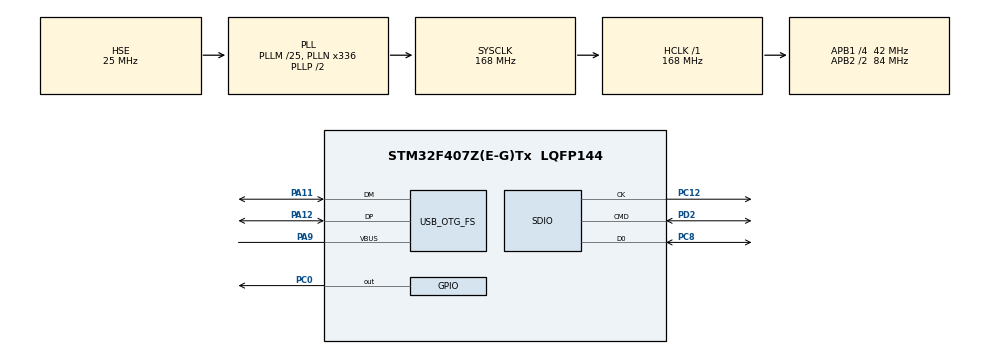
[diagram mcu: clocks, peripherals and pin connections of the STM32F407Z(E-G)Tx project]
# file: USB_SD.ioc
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FATFS._FS_EXFAT=0
FATFS._FS_TINY=0
FATFS._MAX_SS=4096
FATFS._USE_LFN=0
Mcu.Family=STM32F4
Mcu.Name=STM32F407Z(E-G)Tx
Mcu.Package=LQFP144
NVIC.OTG_FS_IRQn=true\:0\:0\:false\:false\:true\:false\:true\:true
NVIC.PriorityGroup=NVIC_PRIORITYGROUP_4
PA11.Mode=Host_Only
PA11.Signal=USB_OTG_FS_DM
PA12.Mode=Host_Only
PA12.Signal=USB_OTG_FS_DP
PA13.Mode=Serial_Wire
PA13.Signal=SYS_JTMS-SWDIO
PA14.Mode=Serial_Wire
PA14.Signal=SYS_JTCK-SWCLK
PA9.Mode=Activate_VBUS
PA9.Signal=USB_OTG_FS_VBUS
PC0.Signal=GPIO_Output
PC12.Mode=SD_1_bit
PC12.Signal=SDIO_CK
PC8.Mode=SD_1_bit
PC8.Signal=SDIO_D0
PD2.Mode=SD_1_bit
PD2.Signal=SDIO_CMD
PH0-OSC_IN.Mode=HSE-External-Oscillator
PH0-OSC_IN.Signal=RCC_OSC_IN
PH1-OSC_OUT.Mode=HSE-External-Oscillator
PH1-OSC_OUT.Signal=RCC_OSC_OUT
ProjectManager.HeapSize=0x200
ProjectManager.StackSize=0x400
ProjectManager.TargetToolchain=EWARM V8.50
RCC.48MHZClocksFreq_Value=48000000
RCC.AHBFreq_Value=168000000
RCC.APB1CLKDivider=RCC_HCLK_DIV4
RCC.APB1Freq_Value=42000000
RCC.APB1TimFreq_Value=84000000
RCC.APB2CLKDivider=RCC_HCLK_DIV2
RCC.APB2Freq_Value=84000000
RCC.APB2TimFreq_Value=168000000
RCC.CortexFreq_Value=168000000
RCC.HCLKFreq_Value=168000000
RCC.HSE_VALUE=25000000
RCC.HSI_VALUE=16000000
RCC.LSE_VALUE=32768
RCC.PLLM=25
RCC.PLLN=336
RCC.PLLQ=7
RCC.SYSCLKFreq_VALUE=168000000
RCC.SYSCLKSource=RCC_SYSCLKSOURCE_PLLCLK
RCC.VCOOutputFreq_Value=336000000
SDIO.ClockDiv=4
USB_HOST.BSP.number=1
USB_HOST.USBH_HandleTypeDef-MSC_FS=hUsbHostFS
USB_HOST.VirtualModeFS=Msc
USB_HOST0.BSP.STBoard=false
USB_HOST0.BSP.api=Unknown
USB_HOST0.BSP.condition=SW_VBUS_DRIVE_MSC_FS \= false
USB_HOST0.BSP.instance=PC0
USB_HOST0.BSP.ip=GPIO
USB_HOST0.BSP.mode=Output
USB_HOST0.BSP.name=Drive_VBUS_FS
USB_HOST0.BSP.solution=PC0
USB_OTG_FS.VirtualMode=Host_Only
USB_OTG_FS.phy_itface=HCD_PHY_EMBEDDED
VP_FATFS_VS_SDIO.Mode=SDIO
VP_FATFS_VS_USB.Mode=USB
VP_USB_HOST_VS_USB_HOST_MSC_FS.Mode=MSC_FS
board=custom

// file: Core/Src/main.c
/* USER CODE BEGIN Header */
/**
  ******************************************************************************
  * @file           : main.c
  * @brief          : Main program body
  ******************************************************************************
  * @attention
  *
  * Copyright (c) 2024 STMicroelectronics.
  * All rights reserved.
  *
  * This software is licensed under terms that can be found in the LICENSE file
  * in the root directory of this software component.
  * If no LICENSE file comes with this software, it is provided AS-IS.
  *
  ******************************************************************************
  */
/* USER CODE END Header */
#include "main.h"
#include "fatfs.h"
#include "usb_host.h"

/* USER CODE BEGIN Includes */
#include "USBFileHandling.h"
#include "SDFileHandling.h"
/* USER CODE END Includes */

SD_HandleTypeDef hsd;

/* USER CODE BEGIN PV */
extern FATFS SDFatFS;
extern FATFS USBHFatFS;

extern FIL SDFile;
extern FIL USBHFile;

extern USBH_HandleTypeDef hUsbHostFS;
extern FRESULT usb_fresult;
/* USER CODE END PV */

void SystemClock_Config(void);
static void MX_GPIO_Init(void);
static void MX_SDIO_SD_Init(void);
void MX_USB_HOST_Process(void);

int main(void)
{

  /* MCU Configuration--------------------------------------------------------*/

  /* Reset of all peripherals, Initializes the Flash interface and the Systick. */
  HAL_Init();

  /* Configure the system clock */
  SystemClock_Config();

  /* Initialize all configured peripherals */
  MX_GPIO_Init();
//  MX_FATFS_Init();
  MX_SDIO_SD_Init();
  MX_USB_HOST_Init();

  /* Infinite loop */
  while (1)
  {

    /* USER CODE BEGIN 3 */
    retUSBH = FATFS_LinkDriver(&USBH_Driver, USBHPath);
    MX_USB_HOST_Process();
    FATFS_UnLinkDriver(USBHPath);

    retSD = FATFS_LinkDriver(&SD_Driver, SDPath);
    mount_sd();
    sd_create_file("test.txt");
    sd_update_file("test.txt", "Hi there, this is ali\n");
    unmount_sd();
    FATFS_UnLinkDriver(SDPath);
  }
  /* USER CODE END 3 */
}

void SystemClock_Config(void)
{
  RCC_OscInitTypeDef RCC_OscInitStruct = {0};
  RCC_ClkInitTypeDef RCC_ClkInitStruct = {0};

  /** Configure the main internal regulator output voltage
  */
  __HAL_RCC_PWR_CLK_ENABLE();
  __HAL_PWR_VOLTAGESCALING_CONFIG(PWR_REGULATOR_VOLTAGE_SCALE1);

  /** Initializes the RCC Oscillators according to the specified parameters
  * in the RCC_OscInitTypeDef structure.
  */
  RCC_OscInitStruct.OscillatorType = RCC_OSCILLATORTYPE_HSE;
  RCC_OscInitStruct.HSEState = RCC_HSE_ON;
  RCC_OscInitStruct.PLL.PLLState = RCC_PLL_ON;
  RCC_OscInitStruct.PLL.PLLSource = RCC_PLLSOURCE_HSE;
  RCC_OscInitStruct.PLL.PLLM = 25;
  RCC_OscInitStruct.PLL.PLLN = 336;
  RCC_OscInitStruct.PLL.PLLP = RCC_PLLP_DIV2;
  RCC_OscInitStruct.PLL.PLLQ = 7;
  if (HAL_RCC_OscConfig(&RCC_OscInitStruct) != HAL_OK)
  {
    Error_Handler();
  }

  /** Initializes the CPU, AHB and APB buses clocks
  */
  RCC_ClkInitStruct.ClockType = RCC_CLOCKTYPE_HCLK|RCC_CLOCKTYPE_SYSCLK
                              |RCC_CLOCKTYPE_PCLK1|RCC_CLOCKTYPE_PCLK2;
  RCC_ClkInitStruct.SYSCLKSource = RCC_SYSCLKSOURCE_PLLCLK;
  RCC_ClkInitStruct.AHBCLKDivider = RCC_SYSCLK_DIV1;
  RCC_ClkInitStruct.APB1CLKDivider = RCC_HCLK_DIV4;
  RCC_ClkInitStruct.APB2CLKDivider = RCC_HCLK_DIV2;

  if (HAL_RCC_ClockConfig(&RCC_ClkInitStruct, FLASH_LATENCY_5) != HAL_OK)
  {
    Error_Handler();
  }
}

static void MX_SDIO_SD_Init(void)
{

  hsd.Instance = SDIO;
  hsd.Init.ClockEdge = SDIO_CLOCK_EDGE_RISING;
  hsd.Init.ClockBypass = SDIO_CLOCK_BYPASS_DISABLE;
  hsd.Init.ClockPowerSave = SDIO_CLOCK_POWER_SAVE_DISABLE;
  hsd.Init.BusWide = SDIO_BUS_WIDE_1B;
  hsd.Init.HardwareFlowControl = SDIO_HARDWARE_FLOW_CONTROL_DISABLE;
  hsd.Init.ClockDiv = 4;

}

static void MX_GPIO_Init(void)
{
  GPIO_InitTypeDef GPIO_InitStruct = {0};

  /* GPIO Ports Clock Enable */
  __HAL_RCC_GPIOH_CLK_ENABLE();
  __HAL_RCC_GPIOC_CLK_ENABLE();
  __HAL_RCC_GPIOA_CLK_ENABLE();
  __HAL_RCC_GPIOD_CLK_ENABLE();

  /*Configure GPIO pin Output Level */
  HAL_GPIO_WritePin(GPIOC, GPIO_PIN_0, GPIO_PIN_RESET);

  /*Configure GPIO pin : PC0 */
  GPIO_InitStruct.Pin = GPIO_PIN_0;
  GPIO_InitStruct.Mode = GPIO_MODE_OUTPUT_PP;
  GPIO_InitStruct.Pull = GPIO_NOPULL;
  GPIO_InitStruct.Speed = GPIO_SPEED_FREQ_LOW;
  HAL_GPIO_Init(GPIOC, &GPIO_InitStruct);

}

void Error_Handler(void)
{
  __disable_irq();
  while (1)
  {
  }
}
